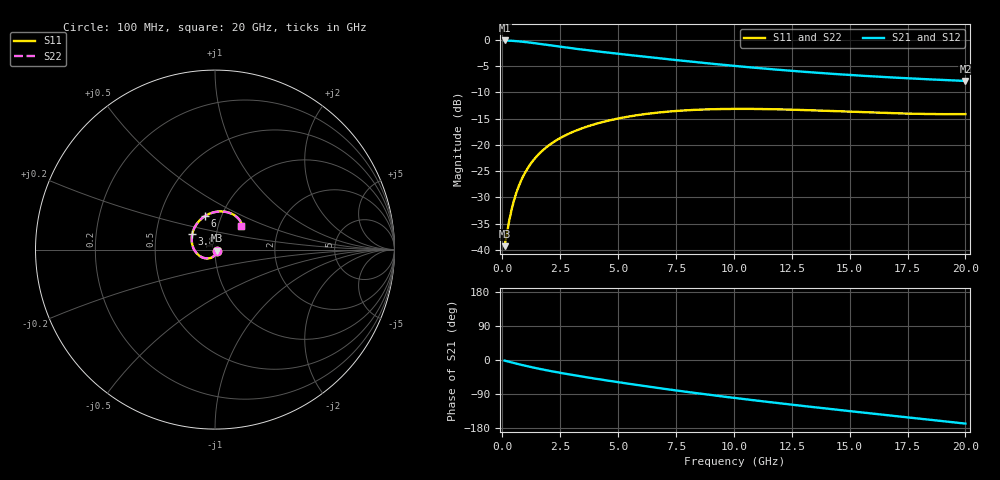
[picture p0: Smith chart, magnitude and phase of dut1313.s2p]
! Touchstone file exported from HFSS 2024.1.0
!  File:  C:/UserFiles/LocalFiles/RDL_TSV_Batchsim/temp_RDL_TSV_1313_1780385313.aedt
!  Generated:  03:42:35 PM Jun  2, 2026
!  Design:  RDL_TSV
!  Project:  temp_RDL_TSV_1313_1780385313
!  Setup:  Setup1
!  Solution:  Sweep
! Variables:
!  dtsv = 11.76um
!  hbump = 3um
!  htsv = 86.37um
!  ldown = 502.28um
!  lrdl = 170.08um
!  p = 40
!  p1 = 45.08um
!  rhole = 10um
!  subl = 2187.16um
!  t = 450um
!  tdown = 3.23um
!  trdl = 4.11um
!  viad = 10um
!  wdown = 26.25um
!  wrdl = 25.97um
!  xbump = 18um
# GHz S MA R 50.000000
! Terminal data exported
! Port[1] = TM1_1_T1
! Port[2] = TM1_4_T1
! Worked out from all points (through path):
!   200 points, 100 MHz to 20 GHz, reference 50 ohm
!   highest |S21| = -0.09 dB at 100 MHz (marker M1); lowest = -7.8 dB at 20 GHz (marker M2)
!   group delay of S21, straight-line fit = 22 ps
!   lowest |S11| = -39.3 dB at 100 MHz (marker M3), VSWR 1.02, Z = 50.9 - j0.577 ohm
!   |S11| at or under -10 dB: start of sweep to end of sweep
!   |S22| runs from -39.3 to -13.2 dB; largest |S21 - S12| = 1.6e-14
!   S11 on the Smith chart (normalised r, x): 100 MHz: 1.02, -0.01; 3.8 GHz: 0.76, +0.13; 6 GHz: 0.84, +0.32; 20 GHz: 1.29, +0.35
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0.1  0.01083 -31.6  0.9899 -1.6  0.9899 -1.6  0.01083 -31.6
! Gamma 0 0 0 0
! Port Impedance 50 0 50 0
0.3  0.01901 -69.1  0.9858 -4.8  0.9858 -4.8  0.01902 -69.1
0.4  0.02408 -80.3  0.9829 -6.4  0.9829 -6.4  0.02409 -80.3
0.6  0.03461 -97.0  0.9757 -9.4  0.9757 -9.4  0.03461 -97.0
0.7  0.03987 -103.7  0.9714 -10.9  0.9714 -10.9  0.03987 -103.7
0.9  0.05016 -115.5  0.9616 -13.9  0.9616 -13.9  0.05016 -115.5
1.2  0.06482 -130.7  0.9446 -18.1  0.9446 -18.1  0.06481 -130.7
1.6  0.08267 -148.1  0.9196 -23.3  0.9196 -23.3  0.08265 -148.1
2.1  0.1023 -166.8  0.8876 -29.3  0.8876 -29.3  0.1023 -166.7
2.7  0.1226 174.1  0.8514 -36.0  0.8514 -36.0  0.1226 174.2
3.5  0.1454 153.0  0.8082 -44.2  0.8082 -44.2  0.1453 153.0
3.8  0.153 146.1  0.7934 -47.2  0.7934 -47.2  0.1529 146.1
4.9  0.1766 124.3  0.7437 -57.6  0.7437 -57.6  0.1764 124.4
6  0.1944 107.1  0.699 -67.5  0.699 -67.5  0.1942 107.1
6.8  0.2041 96.6  0.6689 -74.4  0.6689 -74.4  0.2038 96.6
8.4  0.2162 79.6  0.6142 -87.6  0.6142 -87.6  0.2158 79.7
10.1  0.2204 66.1  0.5644 -100.6  0.5644 -100.6  0.22 66.2
11.7  0.2188 56.7  0.5251 -112.3  0.5251 -112.3  0.2183 56.7
13.4  0.2136 49.5  0.4907 -124.1  0.4907 -124.1  0.213 49.5
15  0.2072 45.0  0.4641 -134.9  0.4641 -134.9  0.2067 45.1
16.7  0.201 42.3  0.441 -146.1  0.441 -146.1  0.2004 42.4
20  0.1967 41.6  0.407 -167.8  0.407 -167.8  0.1962 41.7
